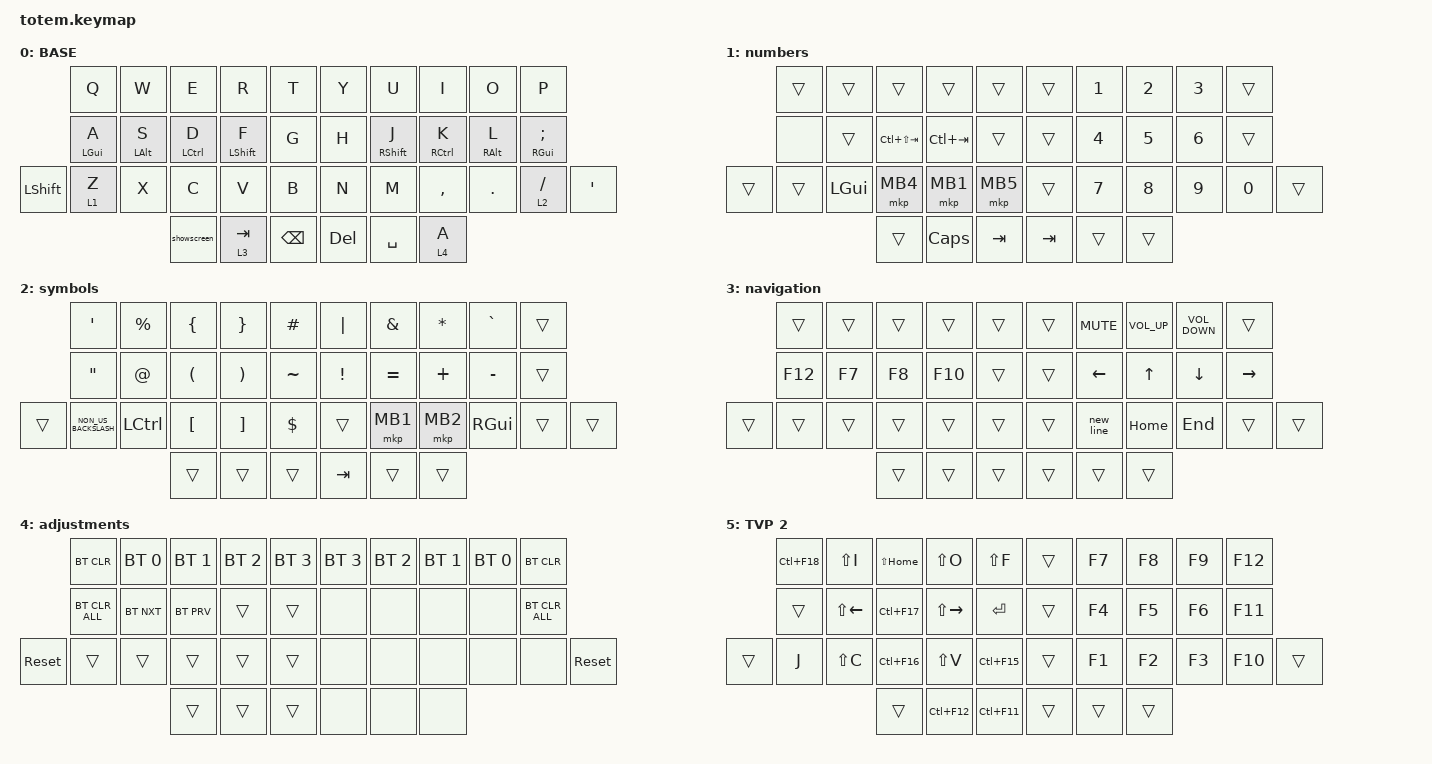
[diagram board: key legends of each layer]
//
//                                                        ▀▀▀▀▀     ▀▀▀▀▀          ▀▀█▀▀
//                                                        ▄▀▀▀▄  ▄  ▄▀▀▀▄  ▄  ▄▀▀▀▄  █  ▄▀▀▀▄
//                                                        █   █  █  █   █  █  █   █  █  █   █
//                                                         ▀▀▀   █   ▀▀▀   █   ▀▀▀   ▀   ▀▀▀
//                                                               █      ▄▄▄█▄▄▄    █   █  
//                                                               ▀      █  █  █     █▄█
//                                                             ▀▀▀▀▀    █  █  █      ▀
//                                                                      ▀  ▀  ▀
//
// ▄▄▄▄▄▄▄▄▄▄▄▄▄▄▄▄▄▄▄▄▄▄▄▄▄▄▄▄▄▄▄▄▄▄▄▄▄▄▄▄▄▄▄▄▄▄▄▄▄▄▄▄▄▄▄▄▄▄▄▄▄▄▄▄▄▄▄▄▄▄▄▄▄▄▄▄▄▄▄▄▄▄▄▄▄▄▄▄▄▄▄▄▄▄▄▄▄▄▄▄▄▄▄▄▄▄▄▄▄▄▄▄▄▄▄▄▄▄▄▄▄▄▄▄▄▄▄▄▄▄▄▄▄▄▄▄▄▄▄▄▄▄▄▄▄▄▄▄▄

#include <behaviors.dtsi>
#include <dt-bindings/zmk/bt.h>
#include <dt-bindings/zmk/keys.h>
#include <dt-bindings/zmk/pointing.h>

// testing

#define BASE 0
#define NAV  1
#define SYM  2
#define ADJ  3
#define TVP1 4
#define TVP2 5

&mt {
    quick-tap-ms = <100>;
    global-quick-tap;
    flavor = "tap-preferred";
    tapping-term-ms = <170>;
};

/ {
    combos {
        compatible = "zmk,combos";

        combo_esc {
            timeout-ms = <50>;
            key-positions = <6 7>;
            bindings = <&kp ESC>;
        };

        combo_tvp {
            timeout-ms = <100>;
            key-positions = <27 28>;
            bindings = <&kp ENTER>;
        };

        left_enter {
            bindings = <&kp ENTER>;
            key-positions = <23 24>;
        };

        lockscreen {
            bindings = <&kp LG(LC(Q))>;
            key-positions = <4 5>;
        };

        printscreen {
            bindings = <&kp LG(RS(N5))>;
            key-positions = <14 15>;
        };
    };

    macros {
        new_line: new_line {
            compatible = "zmk,behavior-macro";
            #binding-cells = <0>;
            bindings = <&kp LC(E) &kp ENTER>;
            label = "NEW_LINE";
        };
    };

    behaviors {
        showscreen: showscreen {
            compatible = "zmk,behavior-tap-dance";
            label = "SHOWSCREEN";
            #binding-cells = <0>;
            bindings = <&kp LC(UP_ARROW)>, <&kp LG(UP_ARROW)>;
        };
    };

    keymap {
        compatible = "zmk,keymap";

        // ▄▄▄▄▄▄▄▄▄▄▄▄▄▄▄▄▄▄▄▄▄▄▄▄▄▄▄▄▄▄▄▄▄▄▄▄▄▄▄▄▄▄▄▄▄▄▄▄▄▄▄▄▄▄▄▄▄▄▄▄▄▄▄▄▄▄▄▄▄▄▄▄▄▄▄▄▄▄▄▄▄▄▄▄▄▄▄▄▄▄▄▄▄▄▄▄▄▄▄▄▄▄▄▄▄▄▄▄▄▄▄▄▄▄▄▄▄▄▄▄▄▄▄▄▄▄▄▄▄▄▄▄▄▄▄▄▄▄▄▄▄▄▄▄▄▄▄▄▄

        base_layer {
            // ┏━━━━━━━━━━━━━━━━━━━━━━━━━━━━━━━━━━━━━━━┓

            label = "BASE";

            // ┗━━━━━━━━━━━━━━━━━━━━━━━━━━━━━━━━━━━━━━━┛
            //             ┏━━━━━━━━━━━┳━━━━━━━━━━━┳━━━━━━━━━━━┳━━━━━━━━━━━┳━━━━━━━━━━━┓   ┏━━━━━━━━━━━┳━━━━━━━━━━━┳━━━━━━━━━━━┳━━━━━━━━━━━┳━━━━━━━━━━━┓
            //             ┃     Q     ┃     W     ┃     F     ┃     P     ┃     G     ┃   ┃     J     ┃     L     ┃     U     ┃     Y     ┃     ;     ┃
            //             ┣━━━━━━━━━━━╋━━━━━━━━━━━╋━━━━━━━━━━━╋━━━━━━━━━━━╋━━━━━━━━━━━┫   ┣━━━━━━━━━━━╋━━━━━━━━━━━╋━━━━━━━━━━━╋━━━━━━━━━━━╋━━━━━━━━━━━┫
            //             ┃     A     ┃     R     ┃     S     ┃     T     ┃     D     ┃   ┃     H     ┃     N     ┃     E     ┃     I     ┃     O     ┃
            // ┏━━━━━━━━━━━╋━━━━━━━━━━━╋━━━━━━━━━━━╋━━━━━━━━━━━╋━━━━━━━━━━━╋━━━━━━━━━━━┫   ┣━━━━━━━━━━━╋━━━━━━━━━━━╋━━━━━━━━━━━╋━━━━━━━━━━━╋━━━━━━━━━━━╋━━━━━━━━━━━┓
            // ┃     Q     ┃     Z     ┃     X     ┃     C     ┃     V     ┃     B     ┃   ┃     K     ┃     M     ┃     ,     ┃     .     ┃     /     ┃     \     ┃
            // ┗━━━━━━━━━━━┻━━━━━━━━━━━┻━━━━━━━━━━━╋━━━━━━━━━━━╋━━━━━━━━━━━╋━━━━━━━━━━━┫   ┣━━━━━━━━━━━╋━━━━━━━━━━━╋━━━━━━━━━━━╋━━━━━━━━━━━┻━━━━━━━━━━━┻━━━━━━━━━━━┛
            //                                     ┃    DEL    ┃    TAB    ┃    SPC    ┃   ┃   ENTER   ┃           ┃   BSPC    ┃
            //                                     ┗━━━━━━━━━━━┻━━━━━━━━━━━┻━━━━━━━━━━━┛   ┗━━━━━━━━━━━┻━━━━━━━━━━━┻━━━━━━━━━━━┛

            bindings = <
                &kp Q       &kp W       &kp E        &kp R        &kp T            &kp Y       &kp U        &kp I        &kp O       &kp P
                &mt LGUI A  &mt LALT S  &mt LCTRL D  &mt LSHFT F  &kp G            &kp H       &mt RSHFT J  &mt RCTRL K  &mt RALT L  &mt RGUI SEMICOLON
&kp LEFT_SHIFT  &lt 1 Z     &kp X       &kp C        &kp V        &kp B            &kp N       &kp M        &kp COMMA    &kp PERIOD  &lt 2 SLASH         &kp SINGLE_QUOTE
                                        &showscreen  &lt 3 TAB    &kp BACKSPACE    &kp DELETE  &kp SPACE    &lt 4 A
            >;
        };

        // ▄▄▄▄▄▄▄▄▄▄▄▄▄▄▄▄▄▄▄▄▄▄▄▄▄▄▄▄▄▄▄▄▄▄▄▄▄▄▄▄▄▄▄▄▄▄▄▄▄▄▄▄▄▄▄▄▄▄▄▄▄▄▄▄▄▄▄▄▄▄▄▄▄▄▄▄▄▄▄▄▄▄▄▄▄▄▄▄▄▄▄▄▄▄▄▄▄▄▄▄▄▄▄▄▄▄▄▄▄▄▄▄▄▄▄▄▄▄▄▄▄▄▄▄▄▄▄▄▄▄▄▄▄▄▄▄▄▄▄▄▄▄▄▄▄▄▄▄▄

        nav_layer {
            // ┏━━━━━━━━━━━━━━━━━━━━━━━━━━━━━━━━━━━━━━━┓

            label = "numbers";

            // ┗━━━━━━━━━━━━━━━━━━━━━━━━━━━━━━━━━━━━━━━┛
            //             ┏━━━━━━━━━━━┳━━━━━━━━━━━┳━━━━━━━━━━━┳━━━━━━━━━━━┳━━━━━━━━━━━┓   ┏━━━━━━━━━━━┳━━━━━━━━━━━┳━━━━━━━━━━━┳━━━━━━━━━━━┳━━━━━━━━━━━┓
            //             ┃           ┃           ┃     UP    ┃           ┃     {     ┃   ┃     }     ┃     7     ┃     8     ┃     9     ┃     +     ┃
            //             ┣━━━━━━━━━━━╋━━━━━━━━━━━╋━━━━━━━━━━━╋━━━━━━━━━━━╋━━━━━━━━━━━┫   ┣━━━━━━━━━━━╋━━━━━━━━━━━╋━━━━━━━━━━━╋━━━━━━━━━━━╋━━━━━━━━━━━┫
            //             ┃   SHIFT   ┃   LEFT    ┃    DOWN   ┃   RIGHT   ┃     [     ┃   ┃     ]     ┃     4     ┃     5     ┃     6     ┃     -     ┃
            // ┏━━━━━━━━━━━╋━━━━━━━━━━━╋━━━━━━━━━━━╋━━━━━━━━━━━╋━━━━━━━━━━━╋━━━━━━━━━━━┫   ┣━━━━━━━━━━━╋━━━━━━━━━━━╋━━━━━━━━━━━╋━━━━━━━━━━━╋━━━━━━━━━━━╋━━━━━━━━━━━┓
            // ┃           ┃           ┃   P UP    ┃  C LOCK   ┃  P DOWN   ┃     (     ┃   ┃     )     ┃     1     ┃     2     ┃     3     ┃     *     ┃           ┃
            // ┗━━━━━━━━━━━┻━━━━━━━━━━━┻━━━━━━━━━━━╋━━━━━━━━━━━╋━━━━━━━━━━━╋━━━━━━━━━━━┫   ┣━━━━━━━━━━━╋━━━━━━━━━━━╋━━━━━━━━━━━╋━━━━━━━━━━━┻━━━━━━━━━━━┻━━━━━━━━━━━┛
            //                                     ┃           ┃    TAB    ┃    SPC    ┃   ┃    DEL    ┃     0     ┃           ┃
            //                                     ┗━━━━━━━━━━━┻━━━━━━━━━━━┻━━━━━━━━━━━┛   ┗━━━━━━━━━━━┻━━━━━━━━━━━┻━━━━━━━━━━━┛

            bindings = <
        &trans  &trans        &trans           &trans        &trans      &trans   &kp NUMBER_1  &kp NUMBER_2  &kp NUMBER_3  &trans
        &none   &trans        &kp LC(LS(TAB))  &kp LC(TAB)   &trans      &trans   &kp NUMBER_4  &kp N5        &kp NUMBER_6  &trans
&trans  &trans  &kp LEFT_GUI  &mkp MB4         &mkp MB1      &mkp MB5    &trans   &kp N7        &kp N8        &kp N9        &kp NUMBER_0  &trans
                              &trans           &kp CAPSLOCK  &kp TAB     &kp TAB  &trans        &trans
            >;
        };

        // ▄▄▄▄▄▄▄▄▄▄▄▄▄▄▄▄▄▄▄▄▄▄▄▄▄▄▄▄▄▄▄▄▄▄▄▄▄▄▄▄▄▄▄▄▄▄▄▄▄▄▄▄▄▄▄▄▄▄▄▄▄▄▄▄▄▄▄▄▄▄▄▄▄▄▄▄▄▄▄▄▄▄▄▄▄▄▄▄▄▄▄▄▄▄▄▄▄▄▄▄▄▄▄▄▄▄▄▄▄▄▄▄▄▄▄▄▄▄▄▄▄▄▄▄▄▄▄▄▄▄▄▄▄▄▄▄▄▄▄▄▄▄▄▄▄▄▄▄▄

        sim_layer {
            // ┏━━━━━━━━━━━━━━━━━━━━━━━━━━━━━━━━━━━━━━━┓

            label = "symbols";

            // ┗━━━━━━━━━━━━━━━━━━━━━━━━━━━━━━━━━━━━━━━┛
            //             ┏━━━━━━━━━━━┳━━━━━━━━━━━┳━━━━━━━━━━━┳━━━━━━━━━━━┳━━━━━━━━━━━┓   ┏━━━━━━━━━━━┳━━━━━━━━━━━┳━━━━━━━━━━━┳━━━━━━━━━━━┳━━━━━━━━━━━┓
            //             ┃     !     ┃     @     ┃     #     ┃     $     ┃     %     ┃   ┃     ˆ     ┃     &     ┃     Ü     ┃     '     ┃     "     ┃
            //             ┣━━━━━━━━━━━╋━━━━━━━━━━━╋━━━━━━━━━━━╋━━━━━━━━━━━╋━━━━━━━━━━━┫   ┣━━━━━━━━━━━╋━━━━━━━━━━━╋━━━━━━━━━━━╋━━━━━━━━━━━╋━━━━━━━━━━━┫
            //             ┃     Ä     ┃           ┃    SZ     ┃           ┃           ┃   ┃   MUTE    ┃   YEN     ┃   EURO    ┃  POUND    ┃     Ö     ┃
            // ┏━━━━━━━━━━━╋━━━━━━━━━━━╋━━━━━━━━━━━╋━━━━━━━━━━━╋━━━━━━━━━━━╋━━━━━━━━━━━┫   ┣━━━━━━━━━━━╋━━━━━━━━━━━╋━━━━━━━━━━━╋━━━━━━━━━━━╋━━━━━━━━━━━╋━━━━━━━━━━━┓
            // ┃           ┃  EMAIL1   ┃  EMAIL2   ┃           ┃           ┃           ┃   ┃   VOL-    ┃   VOL+    ┃   LAST    ┃   NEXT    ┃     \     ┃           ┃
            // ┗━━━━━━━━━━━┻━━━━━━━━━━━┻━━━━━━━━━━━╋━━━━━━━━━━━╋━━━━━━━━━━━╋━━━━━━━━━━━┫   ┣━━━━━━━━━━━╋━━━━━━━━━━━╋━━━━━━━━━━━╋━━━━━━━━━━━┻━━━━━━━━━━━┻━━━━━━━━━━━┛
            //                                     ┃           ┃    GIF    ┃    ADJ    ┃   ┃           ┃           ┃           ┃
            //                                     ┗━━━━━━━━━━━┻━━━━━━━━━━━┻━━━━━━━━━━━┛   ┗━━━━━━━━━━━┻━━━━━━━━━━━┻━━━━━━━━━━━┛

            bindings = <
        &kp SQT               &kp PERCENT  &kp LEFT_BRACE        &kp RIGHT_BRACE        &kp HASH      &kp PIPE         &kp AMPERSAND  &kp ASTERISK  &kp GRAVE      &trans
        &kp DQT               &kp AT_SIGN  &kp LEFT_PARENTHESIS  &kp RIGHT_PARENTHESIS  &kp TILDE     &kp EXCLAMATION  &kp EQUAL      &kp PLUS      &kp MINUS      &trans
&trans  &kp NON_US_BACKSLASH  &kp LCTRL    &kp LEFT_BRACKET      &kp RIGHT_BRACKET      &kp DOLLAR    &trans           &mkp MB1       &mkp MB2      &kp RIGHT_GUI  &trans  &trans
                                           &trans                &trans                 &trans        &kp TAB          &trans         &trans
            >;
        };

        // ▄▄▄▄▄▄▄▄▄▄▄▄▄▄▄▄▄▄▄▄▄▄▄▄▄▄▄▄▄▄▄▄▄▄▄▄▄▄▄▄▄▄▄▄▄▄▄▄▄▄▄▄▄▄▄▄▄▄▄▄▄▄▄▄▄▄▄▄▄▄▄▄▄▄▄▄▄▄▄▄▄▄▄▄▄▄▄▄▄▄▄▄▄▄▄▄▄▄▄▄▄▄▄▄▄▄▄▄▄▄▄▄▄▄▄▄▄▄▄▄▄▄▄▄▄▄▄▄▄▄▄▄▄▄▄▄▄▄▄▄▄▄▄▄▄▄▄▄▄

        adjust_layer {
            // ┏━━━━━━━━━━━━━━━━━━━━━━━━━━━━━━━━━━━━━━━┓

            label = "navigation";

            // ┗━━━━━━━━━━━━━━━━━━━━━━━━━━━━━━━━━━━━━━━┛
            //             ┏━━━━━━━━━━━┳━━━━━━━━━━━┳━━━━━━━━━━━┳━━━━━━━━━━━┳━━━━━━━━━━━┓   ┏━━━━━━━━━━━┳━━━━━━━━━━━┳━━━━━━━━━━━┳━━━━━━━━━━━┳━━━━━━━━━━━┓
            //             ┃   RESET   ┃ BT CLEAR  ┃  OUT TOG  ┃           ┃           ┃   ┃           ┃    F7     ┃    F8     ┃    F9     ┃    F12    ┃
            //             ┣━━━━━━━━━━━╋━━━━━━━━━━━╋━━━━━━━━━━━╋━━━━━━━━━━━╋━━━━━━━━━━━┫   ┣━━━━━━━━━━━╋━━━━━━━━━━━╋━━━━━━━━━━━╋━━━━━━━━━━━╋━━━━━━━━━━━┫
            //             ┃ BOOTLOAD  ┃ BT NEXT   ┃           ┃           ┃           ┃   ┃           ┃    F4     ┃    F5     ┃    F6     ┃    F11    ┃
            // ┏━━━━━━━━━━━╋━━━━━━━━━━━╋━━━━━━━━━━━╋━━━━━━━━━━━╋━━━━━━━━━━━╋━━━━━━━━━━━┫   ┣━━━━━━━━━━━╋━━━━━━━━━━━╋━━━━━━━━━━━╋━━━━━━━━━━━╋━━━━━━━━━━━╋━━━━━━━━━━━┓
            // ┃           ┃           ┃ BT PREV   ┃           ┃           ┃           ┃   ┃           ┃    F1     ┃    F2     ┃    F3     ┃    F10    ┃           ┃
            // ┗━━━━━━━━━━━┻━━━━━━━━━━━┻━━━━━━━━━━━╋━━━━━━━━━━━╋━━━━━━━━━━━╋━━━━━━━━━━━┫   ┣━━━━━━━━━━━╋━━━━━━━━━━━╋━━━━━━━━━━━╋━━━━━━━━━━━┻━━━━━━━━━━━┻━━━━━━━━━━━┛
            //                                     ┃           ┃           ┃           ┃   ┃           ┃           ┃           ┃
            //                                     ┗━━━━━━━━━━━┻━━━━━━━━━━━┻━━━━━━━━━━━┛   ┗━━━━━━━━━━━┻━━━━━━━━━━━┻━━━━━━━━━━━┛

            bindings = <
        &trans   &trans  &trans  &trans   &trans    &trans  &kp K_MUTE  &kp C_VOLUME_UP  &kp C_VOLUME_DOWN  &trans
        &kp F12  &kp F7  &kp F8  &kp F10  &trans    &trans  &kp LEFT    &kp UP_ARROW     &kp DOWN_ARROW     &kp RIGHT
&trans  &trans   &trans  &trans  &trans   &trans    &trans  &new_line   &kp HOME         &kp END            &trans     &trans
                         &trans  &trans   &trans    &trans  &trans      &trans
            >;
        };

        // ▄▄▄▄▄▄▄▄▄▄▄▄▄▄▄▄▄▄▄▄▄▄▄▄▄▄▄▄▄▄▄▄▄▄▄▄▄▄▄▄▄▄▄▄▄▄▄▄▄▄▄▄▄▄▄▄▄▄▄▄▄▄▄▄▄▄▄▄▄▄▄▄▄▄▄▄▄▄▄▄▄▄▄▄▄▄▄▄▄▄▄▄▄▄▄▄▄▄▄▄▄▄▄▄▄▄▄▄▄▄▄▄▄▄▄▄▄▄▄▄▄▄▄▄▄▄▄▄▄▄▄▄▄▄▄▄▄▄▄▄▄▄▄▄▄▄▄▄▄

        tvp1_layer {
            // ┏━━━━━━━━━━━━━━━━━━━━━━━━━━━━━━━━━━━━━━━┓

            label = "adjustments";

            // ┗━━━━━━━━━━━━━━━━━━━━━━━━━━━━━━━━━━━━━━━┛
            //             ┏━━━━━━━━━━━┳━━━━━━━━━━━┳━━━━━━━━━━━┳━━━━━━━━━━━┳━━━━━━━━━━━┓   ┏━━━━━━━━━━━┳━━━━━━━━━━━┳━━━━━━━━━━━┳━━━━━━━━━━━┳━━━━━━━━━━━┓
            //             ┃ NEXT FILE ┃ MARK IN   ┃ ROTATE    ┃ MARK OUT  ┃ SHOW SNAP ┃   ┃           ┃           ┃           ┃           ┃           ┃
            //             ┣━━━━━━━━━━━╋━━━━━━━━━━━╋━━━━━━━━━━━╋━━━━━━━━━━━╋━━━━━━━━━━━┫   ┣━━━━━━━━━━━╋━━━━━━━━━━━╋━━━━━━━━━━━╋━━━━━━━━━━━╋━━━━━━━━━━━┫
            //             ┃ TVP II    ┃ LEFT      ┃ PAN       ┃ RIGHT     ┃ PLAY/FLIP ┃   ┃           ┃           ┃           ┃           ┃           ┃
            // ┏━━━━━━━━━━━╋━━━━━━━━━━━╋━━━━━━━━━━━╋━━━━━━━━━━━╋━━━━━━━━━━━╋━━━━━━━━━━━┫   ┣━━━━━━━━━━━╋━━━━━━━━━━━╋━━━━━━━━━━━╋━━━━━━━━━━━╋━━━━━━━━━━━╋━━━━━━━━━━━┓
            // ┃ FULLSCR   ┃ SHIFT     ┃ COPY      ┃ DELETE    ┃ PASTE     ┃ IMG MARK  ┃   ┃           ┃           ┃           ┃           ┃           ┃           ┃
            // ┗━━━━━━━━━━━┻━━━━━━━━━━━┻━━━━━━━━━━━╋━━━━━━━━━━━╋━━━━━━━━━━━╋━━━━━━━━━━━┫   ┣━━━━━━━━━━━╋━━━━━━━━━━━╋━━━━━━━━━━━╋━━━━━━━━━━━┻━━━━━━━━━━━┻━━━━━━━━━━━┛
            //                                     ┃           ┃ UNDO/SAVE ┃  SEL/MOV  ┃   ┃           ┃           ┃           ┃
            //                                     ┗━━━━━━━━━━━┻━━━━━━━━━━━┻━━━━━━━━━━━┛   ┗━━━━━━━━━━━┻━━━━━━━━━━━┻━━━━━━━━━━━┛

            bindings = <
            &bt BT_CLR      &bt BT_SEL 0  &bt BT_SEL 1  &bt BT_SEL 2  &bt BT_SEL 3    &bt BT_SEL 3  &bt BT_SEL 2  &bt BT_SEL 1  &bt BT_SEL 0  &bt BT_CLR
            &bt BT_CLR_ALL  &bt BT_NXT    &bt BT_PRV    &trans        &trans          &none         &none         &none         &none         &bt BT_CLR_ALL
&sys_reset  &trans          &trans        &trans        &trans        &trans          &none         &none         &none         &none         &none           &sys_reset
                                          &trans        &trans        &trans          &none         &none         &none
            >;
        };

        // ▄▄▄▄▄▄▄▄▄▄▄▄▄▄▄▄▄▄▄▄▄▄▄▄▄▄▄▄▄▄▄▄▄▄▄▄▄▄▄▄▄▄▄▄▄▄▄▄▄▄▄▄▄▄▄▄▄▄▄▄▄▄▄▄▄▄▄▄▄▄▄▄▄▄▄▄▄▄▄▄▄▄▄▄▄▄▄▄▄▄▄▄▄▄▄▄▄▄▄▄▄▄▄▄▄▄▄▄▄▄▄▄▄▄▄▄▄▄▄▄▄▄▄▄▄▄▄▄▄▄▄▄▄▄▄▄▄▄▄▄▄▄▄▄▄▄▄▄▄

        tvp2_layer {
            // ┏━━━━━━━━━━━━━━━━━━━━━━━━━━━━━━━━━━━━━━━┓

            label = "TVP 2";

            // ┗━━━━━━━━━━━━━━━━━━━━━━━━━━━━━━━━━━━━━━━┛
            //             ┏━━━━━━━━━━━┳━━━━━━━━━━━┳━━━━━━━━━━━┳━━━━━━━━━━━┳━━━━━━━━━━━┓   ┏━━━━━━━━━━━┳━━━━━━━━━━━┳━━━━━━━━━━━┳━━━━━━━━━━━┳━━━━━━━━━━━┓
            //             ┃ SOLO      ┃ TOGGLE IN ┃ RESET ROT ┃ TOGGLE OUT┃ TAKE SNAP ┃   ┃           ┃           ┃           ┃           ┃           ┃
            //             ┣━━━━━━━━━━━╋━━━━━━━━━━━╋━━━━━━━━━━━╋━━━━━━━━━━━╋━━━━━━━━━━━┫   ┣━━━━━━━━━━━╋━━━━━━━━━━━╋━━━━━━━━━━━╋━━━━━━━━━━━╋━━━━━━━━━━━┫
            //             ┃ ---       ┃ LAST KEY  ┃ NEW KEY   ┃ NEXT KEY  ┃ ENTER     ┃   ┃           ┃           ┃           ┃           ┃           ┃
            // ┏━━━━━━━━━━━╋━━━━━━━━━━━╋━━━━━━━━━━━╋━━━━━━━━━━━╋━━━━━━━━━━━╋━━━━━━━━━━━┫   ┣━━━━━━━━━━━╋━━━━━━━━━━━╋━━━━━━━━━━━╋━━━━━━━━━━━╋━━━━━━━━━━━╋━━━━━━━━━━━┓
            // ┃           ┃ FULLSCR   ┃ CPY2BRUSH ┃ DEL HEAD  ┃ PSTinPLACE┃ BOOK MARK ┃   ┃           ┃           ┃           ┃           ┃           ┃           ┃
            // ┗━━━━━━━━━━━┻━━━━━━━━━━━┻━━━━━━━━━━━╋━━━━━━━━━━━╋━━━━━━━━━━━╋━━━━━━━━━━━┫   ┣━━━━━━━━━━━╋━━━━━━━━━━━╋━━━━━━━━━━━╋━━━━━━━━━━━┻━━━━━━━━━━━┻━━━━━━━━━━━┛
            //                                     ┃           ┃ REDO/SAV1 ┃TRANS/WARP ┃   ┃           ┃           ┃           ┃
            //                                     ┗━━━━━━━━━━━┻━━━━━━━━━━━┻━━━━━━━━━━━┛   ┗━━━━━━━━━━━┻━━━━━━━━━━━┻━━━━━━━━━━━┛

            bindings = <
        &kp LC(F18)  &kp LS(I)     &kp LS(HOME)  &kp LS(O)      &kp LS(F)      &trans  &kp F7  &kp F8  &kp F9  &kp F12
        &trans       &kp LS(LEFT)  &kp LC(F17)   &kp LS(RIGHT)  &kp RET        &trans  &kp F4  &kp F5  &kp F6  &kp F11
&trans  &kp J        &kp LS(C)     &kp LC(F16)   &kp LS(V)      &kp LC(F15)    &trans  &kp F1  &kp F2  &kp F3  &kp F10  &trans
                                   &trans        &kp LC(F12)    &kp LC(F11)    &trans  &trans  &trans
            >;
        };
    };
};
